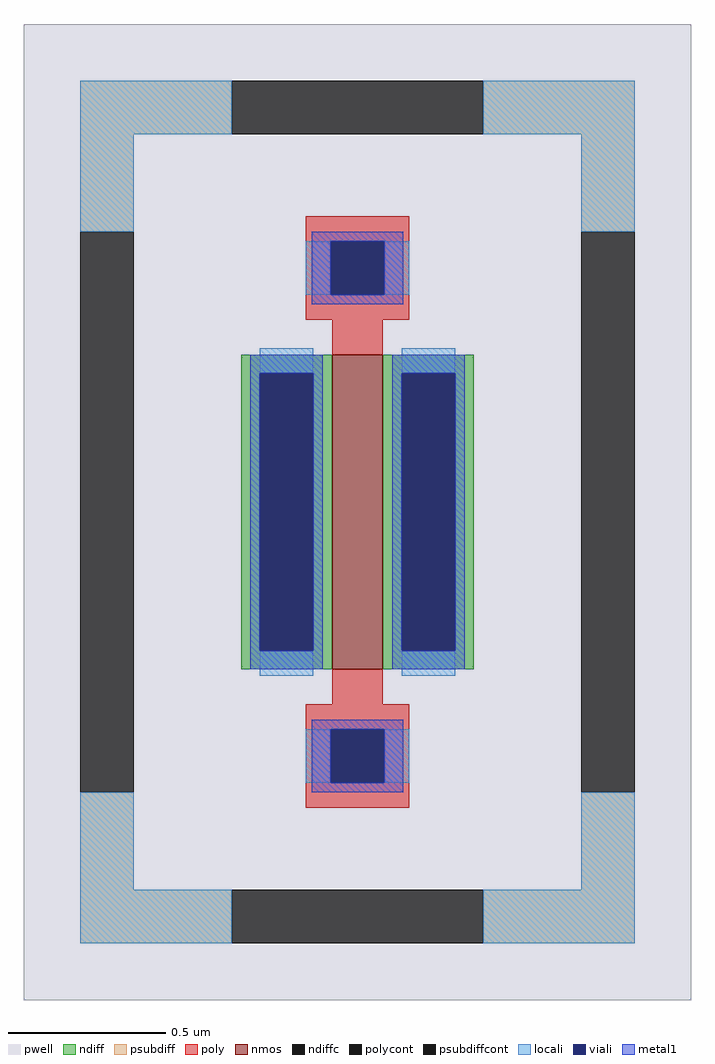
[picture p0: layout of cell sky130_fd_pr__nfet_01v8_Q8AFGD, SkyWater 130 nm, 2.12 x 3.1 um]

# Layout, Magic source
magic
tech sky130A
magscale 1 2
<< pwell >>
rect -212 -310 212 310
<< nmos >>
rect -16 -100 16 100
<< ndiff >>
rect -74 88 -16 100
rect -74 -88 -62 88
rect -28 -88 -16 88
rect -74 -100 -16 -88
rect 16 88 74 100
rect 16 -88 28 88
rect 62 -88 74 88
rect 16 -100 74 -88
<< ndiffc >>
rect -62 -88 -28 88
rect 28 -88 62 88
<< psubdiff >>
rect -176 240 -80 274
rect 80 240 176 274
rect -176 178 -142 240
rect 142 178 176 240
rect -176 -240 -142 -178
rect 142 -240 176 -178
rect -176 -274 -80 -240
rect 80 -274 176 -240
<< psubdiffcont >>
rect -80 240 80 274
rect -176 -178 -142 178
rect 142 -178 176 178
rect -80 -274 80 -240
<< poly >>
rect -33 172 33 188
rect -33 138 -17 172
rect 17 138 33 172
rect -33 122 33 138
rect -16 100 16 122
rect -16 -122 16 -100
rect -33 -138 33 -122
rect -33 -172 -17 -138
rect 17 -172 33 -138
rect -33 -188 33 -172
<< polycont >>
rect -17 138 17 172
rect -17 -172 17 -138
<< locali >>
rect -176 240 -80 274
rect 80 240 176 274
rect -176 178 -142 240
rect 142 178 176 240
rect -33 138 -17 172
rect 17 138 33 172
rect -62 88 -28 104
rect -62 -104 -28 -88
rect 28 88 62 104
rect 28 -104 62 -88
rect -33 -172 -17 -138
rect 17 -172 33 -138
rect -176 -240 -142 -178
rect 142 -240 176 -178
rect -176 -274 -80 -240
rect 80 -274 176 -240
<< viali >>
rect -17 138 17 172
rect -62 -88 -28 88
rect 28 -88 62 88
rect -17 -172 17 -138
<< metal1 >>
rect -29 172 29 178
rect -29 138 -17 172
rect 17 138 29 172
rect -29 132 29 138
rect -68 88 -22 100
rect -68 -88 -62 88
rect -28 -88 -22 88
rect -68 -100 -22 -88
rect 22 88 68 100
rect 22 -88 28 88
rect 62 -88 68 88
rect 22 -100 68 -88
rect -29 -138 29 -132
rect -29 -172 -17 -138
rect 17 -172 29 -138
rect -29 -178 29 -172
<< properties >>
string FIXED_BBOX -159 -257 159 257
string gencell sky130_fd_pr__nfet_01v8
string library sky130
string parameters w 1.0 l 0.155 m 1 nf 1 diffcov 100 polycov 100 guard 1 glc 1 grc 1 gtc 1 gbc 1 tbcov 100 rlcov 100 topc 1 botc 1 poverlap 0 doverlap 1 lmin 0.15 wmin 0.42 compatible {sky130_fd_pr__nfet_01v8 sky130_fd_pr__nfet_01v8_lvt  sky130_fd_bs_flash__special_sonosfet_star  sky130_fd_pr__nfet_g5v0d10v5 sky130_fd_pr__nfet_05v0_nvt  sky130_fd_pr__nfet_03v3_nvt} full_metal 1 viasrc 100 viadrn 100 viagate 100 viagb 0 viagr 0 viagl 0 viagt 0
<< end >>
